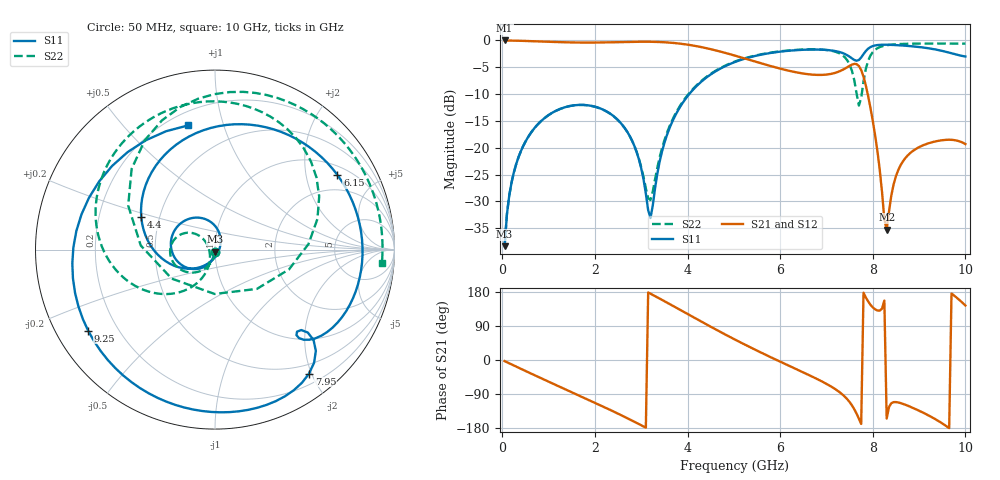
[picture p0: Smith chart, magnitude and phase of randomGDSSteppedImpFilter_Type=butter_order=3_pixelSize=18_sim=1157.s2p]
! freq	dB(S11)	phase(S11)	dB(S12)	phase(S12)
!  dB(S21)	phase(S21)	dB(S22)	phase(S22)
!S-par simulation data
#  GHz  S  DB  R 50
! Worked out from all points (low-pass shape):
!   200 points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, 50 MHz to 10 GHz, reference 50 ohm
!   highest |S21| = -0.01 dB at 50 MHz (marker M1); lowest = -35.3 dB at 8.3 GHz (marker M2)
!   |S21| within 3 dB of the highest: start of sweep to 5.094 GHz
!   lowest |S11| = -38.4 dB at 50 MHz (marker M3), VSWR 1.02, Z = 49.9 - j1.2 ohm
!   |S11| at or under -10 dB: start of sweep to 4.037 GHz
!   |S22| runs from -38.4 to -0.6 dB; largest |S21 - S12| = 0
!   S11 on the Smith chart (normalised r, x): 50 MHz: 1.00, -0.02; 4.4 GHz: 0.40, +0.18; 6.15 GHz: 1.32, +3.04; 7.95 GHz: 0.35, -1.96; 9.25 GHz: 0.10, -0.29; 10 GHz: 0.28, +0.77
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0.05  -38.36 -92.5  -0.01 -3.0  -0.01 -3.0  -38.36 -91.9
0.2  -26.49 -102.8  -0.03 -11.7  -0.03 -11.7  -26.48 -100.5
0.5  -18.88 -122.2  -0.10 -28.9  -0.10 -28.9  -18.87 -116.4
1.75  -12.02 159.3  -0.40 -98.8  -0.40 -98.8  -12.03 -177.9
2.7  -17.06 92.9  -0.28 -153.6  -0.28 -153.6  -17.09 141.2
3.2  -33.11 -29.3  -0.25 175.0  -0.25 175.0  -29.75 -158.8
3.4  -22.51 -111.8  -0.30 161.9  -0.30 161.9  -21.72 -112.7
4.4  -6.97 156.4  -1.43 94.5  -1.43 94.5  -6.84 -150.3
5.05  -3.94 106.5  -2.90 52.3  -2.90 52.3  -3.85 176.0
6.15  -1.95 31.3  -5.58 -12.9  -5.58 -12.9  -1.90 121.7
6.7  -1.70 -2.0  -6.38 -44.3  -6.38 -44.3  -1.66 93.2
7.15  -1.92 -28.0  -6.14 -73.7  -6.14 -73.7  -2.01 63.2
7.45  -2.77 -43.7  -5.00 -103.6  -5.00 -103.6  -3.72 27.0
7.7  -3.65 -43.0  -4.76 -154.7  -4.76 -154.7  -12.14 -90.4
7.8  -2.55 -42.6  -6.76 177.6  -6.76 177.6  -7.65 176.8
7.95  -1.24 -52.8  -12.59 145.8  -12.59 145.8  -2.81 122.8
8.3  -0.80 -78.3  -35.31 -154.5  -35.31 -154.5  -0.90 75.5
8.35  -0.81 -81.6  -31.93 -124.3  -31.93 -124.3  -0.84 71.4
8.65  -0.95 -101.1  -22.56 -115.7  -22.56 -115.7  -0.65 52.1
9.25  -1.53 -147.4  -19.06 -149.2  -19.06 -149.2  -0.58 23.7
9.65  -2.28 165.2  -18.52 -179.9  -18.52 -179.9  -0.59 7.9
10  -3.00 102.2  -19.33 143.9  -19.33 143.9  -0.60 -4.7
